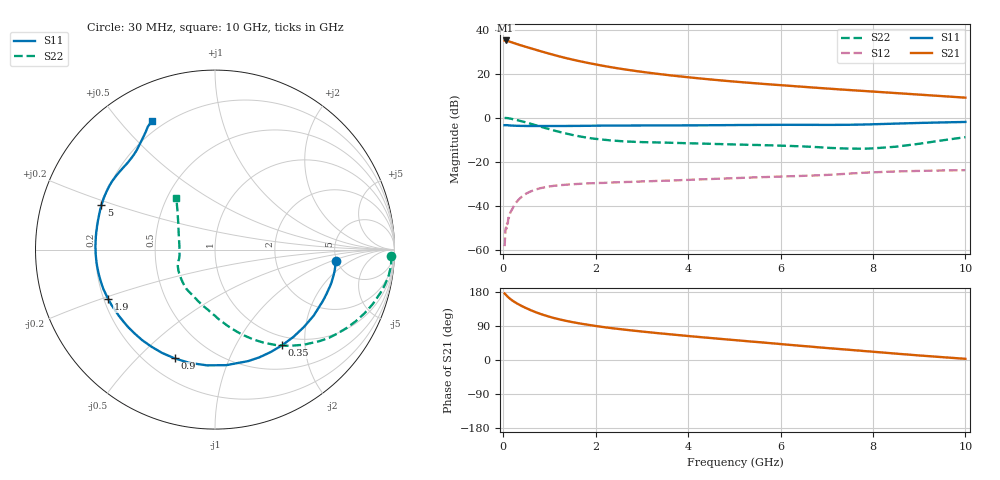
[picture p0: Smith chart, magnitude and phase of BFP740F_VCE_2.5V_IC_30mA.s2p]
! Infineon Technologies  Discrete & RF Semiconductors
! BFP740F
! VCE =  2.5 V,  IC =  30 mA
! Common Emitter S-Parameters:  Oct 2012
# GHz  S  MA  R  50
!  f  S11  S21  S12  S22
! GHz  MAG  ANG  MAG  ANG  MAG  ANG  MAG  ANG
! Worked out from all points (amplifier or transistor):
!   99 points, 30 MHz to 10 GHz, reference 50 ohm
!   highest |S21| = 35.1 dB at 50 MHz (marker M1)
!   |S21| within 3 dB of that: start of sweep to 505.6 MHz
!   unconditionally stable (mu >= 1): 5.285 GHz to end of sweep
!   at 350 MHz: K = 0.19, MSG = 35.0 dB, |S12| = -36.9 dB
!   at 3.5 GHz: K = 0.79, MSG = 24.1 dB, |S12| = -28.6 dB
!   at 10 GHz: K = 1.17, MAG = 14.0 dB, |S12| = -23.9 dB
!   S11 on the Smith chart (normalised r, x): 30 MHz: 4.89, -1.14; 350 MHz: 0.85, -1.58; 900 MHz: 0.31, -0.65; 1.9 GHz: 0.22, -0.21; 5 GHz: 0.20, +0.18; 10 GHz: 0.15, +0.61
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0.03  0.6756 -5.4  56.76 175.6  0.0012 90.3  0.9795 -2.0
0.05  0.6766 -8.8  56.94 173.0  0.0029 91.9  0.9844 -4.3
0.09  0.6744 -15.8  55.79 167.9  0.0038 88.8  0.9782 -8.7
0.13  0.6674 -22.7  53.93 163.3  0.0061 77.8  0.9619 -12.7
0.2  0.6616 -33.7  50.9 156.7  0.0085 76.0  0.9297 -19.1
0.25  0.6568 -41.1  48.95 152.7  0.0108 71.2  0.9047 -23.2
0.35  0.6513 -55.0  45.13 145.7  0.0143 65.9  0.8544 -30.7
0.45  0.6491 -67.6  41.98 139.5  0.0175 61.0  0.8034 -37.7
0.6  0.6469 -84.4  37.7 131.2  0.0212 54.0  0.725 -47.0
0.8  0.6469 -102.7  32.65 121.8  0.0249 46.8  0.6295 -57.6
0.9  0.6464 -110.4  30.47 117.8  0.0262 43.8  0.5859 -62.3
1.1  0.6465 -123.4  26.62 110.7  0.0283 39.4  0.5107 -70.6
1.3  0.6474 -133.8  23.46 104.9  0.0296 35.7  0.4506 -77.9
1.7  0.6514 -149.2  18.78 95.5  0.0315 31.8  0.3678 -90.2
1.9  0.6552 -155.1  17.03 91.7  0.0323 30.5  0.3404 -96.0
2.6  0.6624 -170.3  12.66 80.5  0.0344 28.4  0.2909 -112.6
3.4  0.6664 177.7  9.75 70.2  0.0366 28.3  0.2724 -124.6
5  0.6792 158.7  6.616 52.6  0.0422 28.8  0.2461 -141.2
5.1  0.6807 157.7  6.483 51.5  0.0426 28.9  0.2447 -142.4
6.7  0.6861 141.1  4.849 34.8  0.0484 29.0  0.2165 -161.3
8.5  0.7335 123.8  3.623 16.8  0.0599 25.1  0.2192 157.2
10  0.7991 116.0  2.852 3.1  0.0641 19.4  0.361 126.7
